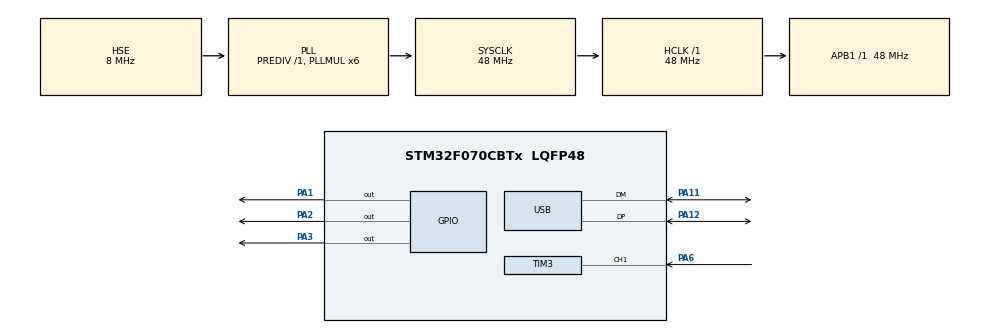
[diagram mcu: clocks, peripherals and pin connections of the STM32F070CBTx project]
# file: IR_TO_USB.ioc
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Mcu.Family=STM32F0
Mcu.Name=STM32F070CBTx
Mcu.Package=LQFP48
NVIC.TIM17_IRQn=true\:0\:0\:false\:false\:true
NVIC.TIM3_IRQn=true\:0\:0\:false\:false\:true
NVIC.TimeBase=TIM17_IRQn
NVIC.TimeBaseIP=TIM17
NVIC.USB_IRQn=true\:0\:0\:false\:false\:true
PA1.PinState=GPIO_PIN_SET
PA1.Signal=GPIO_Output
PA11.Mode=Device
PA11.Signal=USB_DM
PA12.Mode=Device
PA12.Signal=USB_DP
PA2.PinState=GPIO_PIN_SET
PA2.Signal=GPIO_Output
PA3.PinState=GPIO_PIN_SET
PA3.Signal=GPIO_Output
PA6.GPIO_Speed=GPIO_SPEED_FREQ_LOW
PA6.Signal=S_TIM3_CH1
PF0-OSC_IN.Mode=HSE-External-Oscillator
PF0-OSC_IN.Signal=RCC_OSC_IN
PF1-OSC_OUT.Mode=HSE-External-Oscillator
PF1-OSC_OUT.Signal=RCC_OSC_OUT
ProjectManager.HeapSize=0x200
ProjectManager.StackSize=0x400
ProjectManager.TargetToolchain=SW4STM32
RCC.AHBFreq_Value=48000000
RCC.APB1Freq_Value=48000000
RCC.APB1TimFreq_Value=48000000
RCC.EnbaleCSS=true
RCC.HCLKFreq_Value=48000000
RCC.PLLMUL=RCC_PLL_MUL6
RCC.SYSCLKFreq_VALUE=48000000
RCC.SYSCLKSource=RCC_SYSCLKSOURCE_PLLCLK
SH.S_TIM3_CH1.0=TIM3_CH1,TriggerSource_TI1FP1
SH.S_TIM3_CH1.1=TIM3_CH1,Input_Capture1_from_TI1
SH.S_TIM3_CH1.2=TIM3_CH1,Input_Capture2_from_TI1
TIM3.Channel-Input_Capture1_from_TI1=TIM_CHANNEL_1
TIM3.Channel-Input_Capture2_from_TI1=TIM_CHANNEL_2
TIM3.Channel-Output\ Compare3\ No\ Output=TIM_CHANNEL_3
TIM3.ICPolarity_CH1=TIM_INPUTCHANNELPOLARITY_FALLING
TIM3.Period=65535
TIM3.Prescaler=47
TIM3.Pulse-Output\ Compare3\ No\ Output=15000
USB_DEVICE.CLASS_NAME_FS=CUSTOMHID
USB_DEVICE.CONFIGURATION_STRING_CUSTOMHID_FS=IR to keyboard adapter
USB_DEVICE.INTERFACE_STRING_CUSTOMHID_FS=IR to keyboard adapter
USB_DEVICE.MANUFACTURER_STRING=DenisTyurin
USB_DEVICE.USBD_CUSTOMHID_OUTREPORT_BUF_SIZE=9
USB_DEVICE.USBD_CUSTOM_HID_REPORT_DESC_SIZE=47
USB_DEVICE.USBD_SELF_POWERED=0
USB_DEVICE.VID=8263
USB_DEVICE.VirtualMode=CustomHid
USB_DEVICE.VirtualModeFS=Custom_Hid_FS
VP_SYS_VS_tim17.Mode=TIM17
VP_TIM3_VS_ClockSourceINT.Mode=Internal
VP_TIM3_VS_ControllerModeReset.Mode=Reset Mode
VP_TIM3_VS_no_output3.Mode=Output Compare3 No Output
VP_USB_DEVICE_VS_USB_DEVICE_CUSTOM_HID_FS.Mode=CUSTOM_HID_FS
board=IR_TO_USB

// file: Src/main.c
/**
  ******************************************************************************
  * File Name          : main.c
  * Description        : Main program body
  ******************************************************************************
  * This notice applies to any and all portions of this file
  * that are not between comment pairs USER CODE BEGIN and
  * USER CODE END. Other portions of this file, whether
  * inserted by the user or by software development tools
  * are owned by their respective copyright owners.
  *
  * Copyright (c) 2017 STMicroelectronics International N.V.
  * All rights reserved.
  *
  * Redistribution and use in source and binary forms, with or without
  * modification, are permitted, provided that the following conditions are met:
  *
  * 1. Redistribution of source code must retain the above copyright notice,
  *    this list of conditions and the following disclaimer.
  * 2. Redistributions in binary form must reproduce the above copyright notice,
  *    this list of conditions and the following disclaimer in the documentation
  *    and/or other materials provided with the distribution.
  * 3. Neither the name of STMicroelectronics nor the names of other
  *    contributors to this software may be used to endorse or promote products
  *    derived from this software without specific written permission.
  * 4. This software, including modifications and/or derivative works of this
  *    software, must execute solely and exclusively on microcontroller or
  *    microprocessor devices manufactured by or for STMicroelectronics.
  * 5. Redistribution and use of this software other than as permitted under
  *    this license is void and will automatically terminate your rights under
  *    this license.
  *
  * THIS SOFTWARE IS PROVIDED BY STMICROELECTRONICS AND CONTRIBUTORS "AS IS"
  * AND ANY EXPRESS, IMPLIED OR STATUTORY WARRANTIES, INCLUDING, BUT NOT
  * LIMITED TO, THE IMPLIED WARRANTIES OF MERCHANTABILITY, FITNESS FOR A
  * PARTICULAR PURPOSE AND NON-INFRINGEMENT OF THIRD PARTY INTELLECTUAL PROPERTY
  * RIGHTS ARE DISCLAIMED TO THE FULLEST EXTENT PERMITTED BY LAW. IN NO EVENT
  * SHALL STMICROELECTRONICS OR CONTRIBUTORS BE LIABLE FOR ANY DIRECT, INDIRECT,
  * INCIDENTAL, SPECIAL, EXEMPLARY, OR CONSEQUENTIAL DAMAGES (INCLUDING, BUT NOT
  * LIMITED TO, PROCUREMENT OF SUBSTITUTE GOODS OR SERVICES; LOSS OF USE, DATA,
  * OR PROFITS; OR BUSINESS INTERRUPTION) HOWEVER CAUSED AND ON ANY THEORY OF
  * LIABILITY, WHETHER IN CONTRACT, STRICT LIABILITY, OR TORT (INCLUDING
  * NEGLIGENCE OR OTHERWISE) ARISING IN ANY WAY OUT OF THE USE OF THIS SOFTWARE,
  * EVEN IF ADVISED OF THE POSSIBILITY OF SUCH DAMAGE.
  *
  ******************************************************************************
  */
#include "main.h"
#include "stm32f0xx_hal.h"
#include "usb_device.h"

/* USER CODE BEGIN Includes */
#include "keyboard.h"
#include "ir_decoder.h"
/* USER CODE END Includes */

TIM_HandleTypeDef htim3;

/* USER CODE BEGIN PV */
/* Private variables ---------------------------------------------------------*/

/* USER CODE END PV */

void SystemClock_Config(void);
static void MX_GPIO_Init(void);
static void MX_TIM3_Init(void);

/* USER CODE BEGIN PFP */
/* Private function prototypes -----------------------------------------------*/

/* USER CODE END PFP */

int main(void)
{

  /* USER CODE BEGIN 1 */
  IR_COMMAND_T ir_command;

  /* USER CODE END 1 */

  /* MCU Configuration----------------------------------------------------------*/

  /* Reset of all peripherals, Initializes the Flash interface and the Systick. */
  HAL_Init();

  /* Configure the system clock */
  SystemClock_Config();

  /* Initialize all configured peripherals */
  MX_GPIO_Init();
  MX_TIM3_Init();
  MX_USB_DEVICE_Init();

  /* USER CODE BEGIN 2 */
  keyboardInit();

  HAL_TIM_IC_Start_IT(&htim3, TIM_CHANNEL_2);
  HAL_TIM_IC_Start_IT(&htim3, TIM_CHANNEL_1);
  HAL_TIM_OC_Start_IT(&htim3, TIM_CHANNEL_3);
  HAL_TIM_Base_Start_IT(&htim3);
  /* USER CODE END 2 */

  /* Infinite loop */
  while (1)
  {

  /* USER CODE BEGIN 3 */
	  ir_command = ir_decode();
	  if (IR_NO_COMMAND != ir_command)
	  {
		  switch (ir_command)
		  {
		  case IR_COMMAND_POWER_TOGGLE:
			  keyboardPutString("POWER BUTTON\r\n");
			  break;
		  case IR_COMMAND_RETURN:
			  keyboardPutString("HOME BUTTON\r\n");
			  break;
		  default:
			  keyboardPutString("Unknown command");
		  }
	  }
	  HAL_Delay(10);

  }
  /* USER CODE END 3 */

}

/** System Clock Configuration
*/
void SystemClock_Config(void)
{

  RCC_OscInitTypeDef RCC_OscInitStruct;
  RCC_ClkInitTypeDef RCC_ClkInitStruct;
  RCC_PeriphCLKInitTypeDef PeriphClkInit;

    /**Initializes the CPU, AHB and APB busses clocks
    */
  RCC_OscInitStruct.OscillatorType = RCC_OSCILLATORTYPE_HSE;
  RCC_OscInitStruct.HSEState = RCC_HSE_ON;
  RCC_OscInitStruct.HSIState = RCC_HSI_ON;
  RCC_OscInitStruct.PLL.PLLState = RCC_PLL_ON;
  RCC_OscInitStruct.PLL.PLLSource = RCC_PLLSOURCE_HSE;
  RCC_OscInitStruct.PLL.PLLMUL = RCC_PLL_MUL6;
  RCC_OscInitStruct.PLL.PREDIV = RCC_PREDIV_DIV1;
  if (HAL_RCC_OscConfig(&RCC_OscInitStruct) != HAL_OK)
  {
    _Error_Handler(__FILE__, __LINE__);
  }

    /**Initializes the CPU, AHB and APB busses clocks
    */
  RCC_ClkInitStruct.ClockType = RCC_CLOCKTYPE_HCLK|RCC_CLOCKTYPE_SYSCLK
                              |RCC_CLOCKTYPE_PCLK1;
  RCC_ClkInitStruct.SYSCLKSource = RCC_SYSCLKSOURCE_PLLCLK;
  RCC_ClkInitStruct.AHBCLKDivider = RCC_SYSCLK_DIV1;
  RCC_ClkInitStruct.APB1CLKDivider = RCC_HCLK_DIV1;

  if (HAL_RCC_ClockConfig(&RCC_ClkInitStruct, FLASH_LATENCY_1) != HAL_OK)
  {
    _Error_Handler(__FILE__, __LINE__);
  }

  PeriphClkInit.PeriphClockSelection = RCC_PERIPHCLK_USB;
  PeriphClkInit.UsbClockSelection = RCC_USBCLKSOURCE_PLL;

  if (HAL_RCCEx_PeriphCLKConfig(&PeriphClkInit) != HAL_OK)
  {
    _Error_Handler(__FILE__, __LINE__);
  }

    /**Enables the Clock Security System
    */
  HAL_RCC_EnableCSS();

    /**Configure the Systick interrupt time
    */
  HAL_SYSTICK_Config(HAL_RCC_GetHCLKFreq()/1000);

    /**Configure the Systick
    */
  HAL_SYSTICK_CLKSourceConfig(SYSTICK_CLKSOURCE_HCLK);

  /* SysTick_IRQn interrupt configuration */
  HAL_NVIC_SetPriority(SysTick_IRQn, 0, 0);
}

/* TIM3 init function */
static void MX_TIM3_Init(void)
{

  TIM_ClockConfigTypeDef sClockSourceConfig;
  TIM_SlaveConfigTypeDef sSlaveConfig;
  TIM_MasterConfigTypeDef sMasterConfig;
  TIM_IC_InitTypeDef sConfigIC;
  TIM_OC_InitTypeDef sConfigOC;

  htim3.Instance = TIM3;
  htim3.Init.Prescaler = 47;
  htim3.Init.CounterMode = TIM_COUNTERMODE_UP;
  htim3.Init.Period = 65535;
  htim3.Init.ClockDivision = TIM_CLOCKDIVISION_DIV1;
  htim3.Init.AutoReloadPreload = TIM_AUTORELOAD_PRELOAD_DISABLE;
  if (HAL_TIM_Base_Init(&htim3) != HAL_OK)
  {
    _Error_Handler(__FILE__, __LINE__);
  }

  sClockSourceConfig.ClockSource = TIM_CLOCKSOURCE_INTERNAL;
  if (HAL_TIM_ConfigClockSource(&htim3, &sClockSourceConfig) != HAL_OK)
  {
    _Error_Handler(__FILE__, __LINE__);
  }

  if (HAL_TIM_IC_Init(&htim3) != HAL_OK)
  {
    _Error_Handler(__FILE__, __LINE__);
  }

  if (HAL_TIM_OC_Init(&htim3) != HAL_OK)
  {
    _Error_Handler(__FILE__, __LINE__);
  }

  sSlaveConfig.SlaveMode = TIM_SLAVEMODE_RESET;
  sSlaveConfig.InputTrigger = TIM_TS_TI1FP1;
  sSlaveConfig.TriggerPolarity = TIM_INPUTCHANNELPOLARITY_FALLING;
  sSlaveConfig.TriggerFilter = 0;
  if (HAL_TIM_SlaveConfigSynchronization(&htim3, &sSlaveConfig) != HAL_OK)
  {
    _Error_Handler(__FILE__, __LINE__);
  }

  sMasterConfig.MasterOutputTrigger = TIM_TRGO_RESET;
  sMasterConfig.MasterSlaveMode = TIM_MASTERSLAVEMODE_DISABLE;
  if (HAL_TIMEx_MasterConfigSynchronization(&htim3, &sMasterConfig) != HAL_OK)
  {
    _Error_Handler(__FILE__, __LINE__);
  }

  sConfigIC.ICPolarity = TIM_INPUTCHANNELPOLARITY_FALLING;
  sConfigIC.ICSelection = TIM_ICSELECTION_DIRECTTI;
  sConfigIC.ICPrescaler = TIM_ICPSC_DIV1;
  sConfigIC.ICFilter = 0;
  if (HAL_TIM_IC_ConfigChannel(&htim3, &sConfigIC, TIM_CHANNEL_1) != HAL_OK)
  {
    _Error_Handler(__FILE__, __LINE__);
  }

  sConfigIC.ICPolarity = TIM_INPUTCHANNELPOLARITY_RISING;
  sConfigIC.ICSelection = TIM_ICSELECTION_INDIRECTTI;
  if (HAL_TIM_IC_ConfigChannel(&htim3, &sConfigIC, TIM_CHANNEL_2) != HAL_OK)
  {
    _Error_Handler(__FILE__, __LINE__);
  }

  sConfigOC.OCMode = TIM_OCMODE_TIMING;
  sConfigOC.Pulse = 15000;
  sConfigOC.OCPolarity = TIM_OCPOLARITY_HIGH;
  sConfigOC.OCFastMode = TIM_OCFAST_DISABLE;
  if (HAL_TIM_OC_ConfigChannel(&htim3, &sConfigOC, TIM_CHANNEL_3) != HAL_OK)
  {
    _Error_Handler(__FILE__, __LINE__);
  }

}

/** Configure pins as
        * Analog
        * Input
        * Output
        * EVENT_OUT
        * EXTI
        * Free pins are configured automatically as Analog (this feature is enabled through
        * the Code Generation settings)
*/
static void MX_GPIO_Init(void)
{

  GPIO_InitTypeDef GPIO_InitStruct;

  /* GPIO Ports Clock Enable */
  __HAL_RCC_GPIOC_CLK_ENABLE();
  __HAL_RCC_GPIOF_CLK_ENABLE();
  __HAL_RCC_GPIOA_CLK_ENABLE();
  __HAL_RCC_GPIOB_CLK_ENABLE();

  /*Configure GPIO pin Output Level */
  HAL_GPIO_WritePin(GPIOA, GPIO_PIN_1|GPIO_PIN_2|GPIO_PIN_3, GPIO_PIN_SET);

  /*Configure GPIO pins : PC13 PC14 PC15 */
  GPIO_InitStruct.Pin = GPIO_PIN_13|GPIO_PIN_14|GPIO_PIN_15;
  GPIO_InitStruct.Mode = GPIO_MODE_ANALOG;
  GPIO_InitStruct.Pull = GPIO_NOPULL;
  HAL_GPIO_Init(GPIOC, &GPIO_InitStruct);

  /*Configure GPIO pins : PA0 PA4 PA5 PA7
                           PA8 PA9 PA10 PA13
                           PA14 PA15 */
  GPIO_InitStruct.Pin = GPIO_PIN_0|GPIO_PIN_4|GPIO_PIN_5|GPIO_PIN_7
                          |GPIO_PIN_8|GPIO_PIN_9|GPIO_PIN_10|GPIO_PIN_13
                          |GPIO_PIN_14|GPIO_PIN_15;
  GPIO_InitStruct.Mode = GPIO_MODE_ANALOG;
  GPIO_InitStruct.Pull = GPIO_NOPULL;
  HAL_GPIO_Init(GPIOA, &GPIO_InitStruct);

  /*Configure GPIO pins : PA1 PA2 PA3 */
  GPIO_InitStruct.Pin = GPIO_PIN_1|GPIO_PIN_2|GPIO_PIN_3;
  GPIO_InitStruct.Mode = GPIO_MODE_OUTPUT_PP;
  GPIO_InitStruct.Pull = GPIO_NOPULL;
  GPIO_InitStruct.Speed = GPIO_SPEED_FREQ_LOW;
  HAL_GPIO_Init(GPIOA, &GPIO_InitStruct);

  /*Configure GPIO pins : PB0 PB1 PB2 PB10
                           PB11 PB12 PB13 PB14
                           PB15 PB3 PB4 PB5
                           PB6 PB7 PB8 PB9 */
  GPIO_InitStruct.Pin = GPIO_PIN_0|GPIO_PIN_1|GPIO_PIN_2|GPIO_PIN_10
                          |GPIO_PIN_11|GPIO_PIN_12|GPIO_PIN_13|GPIO_PIN_14
                          |GPIO_PIN_15|GPIO_PIN_3|GPIO_PIN_4|GPIO_PIN_5
                          |GPIO_PIN_6|GPIO_PIN_7|GPIO_PIN_8|GPIO_PIN_9;
  GPIO_InitStruct.Mode = GPIO_MODE_ANALOG;
  GPIO_InitStruct.Pull = GPIO_NOPULL;
  HAL_GPIO_Init(GPIOB, &GPIO_InitStruct);

}

void HAL_TIM_PeriodElapsedCallback(TIM_HandleTypeDef *htim)
{
  if (htim->Instance == TIM17) {
    HAL_IncTick();
  }
}

void _Error_Handler(char * file, int line)
{
  while(1)
  {
  }
}

/************************ (C) COPYRIGHT STMicroelectronics *****END OF FILE****/
